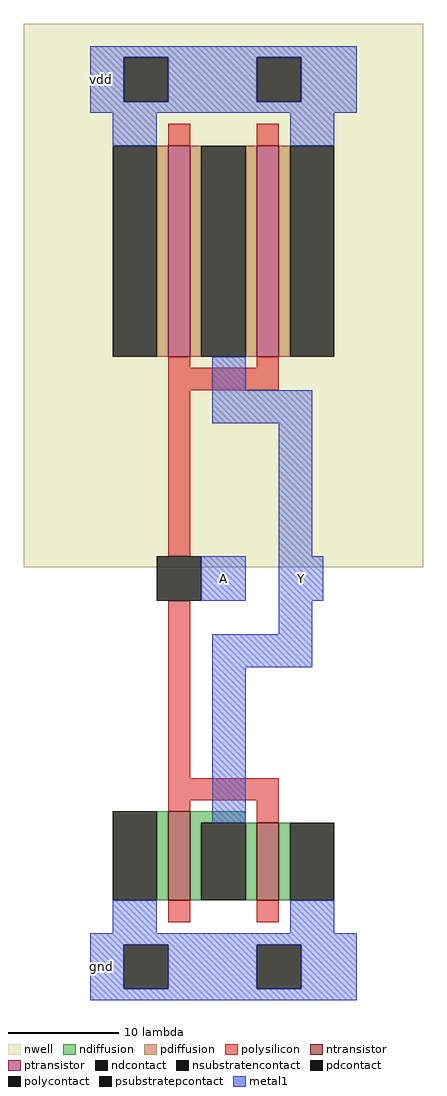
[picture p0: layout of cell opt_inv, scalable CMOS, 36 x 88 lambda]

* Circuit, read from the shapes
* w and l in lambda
.subckt opt_inv A Y vdd gnd
M1 Y A gnd gnd nfet w=8 l=2
M2 gnd A Y gnd nfet w=7 l=2
M3 Y A vdd vdd pfet w=19 l=2 m=2
.ends

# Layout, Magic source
magic
tech scmos
<< nwell >>
rect -6 36 30 85
<< ndiffusion >>
rect 6 6 7 14
rect 9 6 10 13
rect 14 6 15 13
rect 17 6 18 13
rect 9 13 14 14
<< pdiffusion >>
rect 6 55 7 74
rect 9 55 10 74
rect 14 55 15 74
rect 17 55 18 74
<< polysilicon >>
rect 7 4 9 6
rect 15 4 17 6
rect 15 13 17 15
rect 7 14 9 15
rect 7 15 17 17
rect 7 17 9 33
rect 7 37 9 52
rect 7 52 17 54
rect 7 54 9 55
rect 15 54 17 55
rect 7 74 9 76
rect 15 74 17 76
<< ntransistor >>
rect 7 6 9 14
rect 15 6 17 13
<< ptransistor >>
rect 7 55 9 74
rect 15 55 17 74
<< ndcontact >>
rect 2 6 6 14
rect 10 6 14 13
rect 18 6 22 13
<< pdcontact >>
rect 2 55 6 74
rect 10 55 14 74
rect 18 55 22 74
<< polycontact >>
rect 6 33 10 37
<< psubstratepcontact >>
rect 3 -2 7 2
rect 15 -2 19 2
<< nsubstratencontact >>
rect 3 78 7 82
rect 15 78 19 82
<< metal1 >>
rect 0 -3 24 -2
rect 0 -2 3 2
rect 7 -2 15 2
rect 19 -2 24 2
rect 0 2 24 3
rect 2 3 6 6
rect 18 3 22 6
rect 11 13 14 27
rect 11 27 20 30
rect 17 30 20 33
rect 10 33 14 37
rect 17 33 21 37
rect 17 37 20 49
rect 11 49 20 52
rect 11 52 14 55
rect 2 74 6 77
rect 18 74 22 77
rect 0 77 24 78
rect 0 78 3 82
rect 7 78 15 82
rect 19 78 24 82
rect 0 82 24 83
<< labels >>
rlabel metal1 s 10 33 14 37 0 A
port 1 nsew signal input
rlabel metal1 s 17 33 21 37 0 Y
port 2 nsew signal output
rlabel metal1 s 0 77 2 83 0 vdd
port 3 nsew power bidirectional
rlabel metal1 s 0 -3 2 3 0 gnd
port 4 nsew ground bidirectional
<< properties >>
string FIXED_BBOX 0 0 24 80
<< end >>
